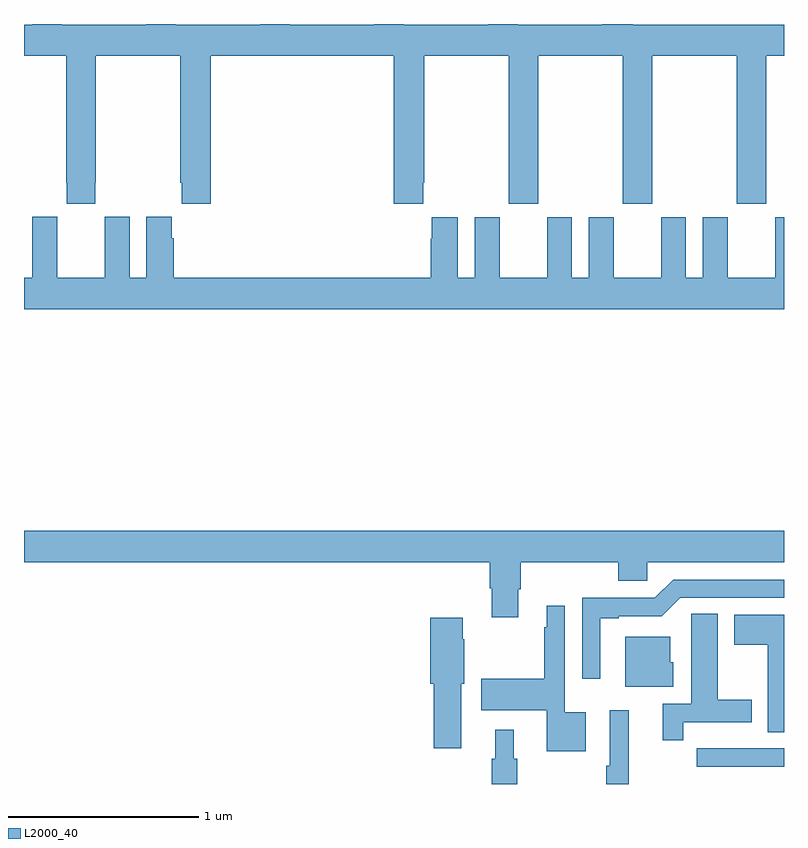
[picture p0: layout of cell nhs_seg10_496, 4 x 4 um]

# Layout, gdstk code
import gdstk
lib = gdstk.Library(unit=1e-6, precision=1e-09)
def P(c, l, *ps):  # polygons
    for p in ps: c.add(gdstk.Polygon(p, *l))
L2000_40 = (2000, 40)

nhs_seg10_496 = lib.new_cell('nhs_seg10_496')
P(nhs_seg10_496, L2000_40, [(135.043,1284.496),(135,1284.496),(135,1284.332),(135.223,1284.332),(135.223,1283.665),(135.225,1283.665),(135.225,1283.553),(135.375,1283.553),(135.375,1283.665),(135.378,1283.665),(135.378,1284.332),(135.823,1284.332),(135.823,1283.665),(135.829,1283.665),(135.829,1283.553),(135.983,1283.553),(135.983,1284.332),(136.946,1284.332),(136.946,1283.553),(137.101,1283.553),(137.101,1283.665),(137.106,1283.665),(137.106,1284.332),(137.551,1284.332),(137.551,1283.553),(137.706,1283.553),(137.706,1284.332),(138.151,1284.332),(138.151,1283.553),(138.306,1283.553),(138.306,1284.332),(138.751,1284.332),(138.751,1283.553),(138.906,1283.553),(138.906,1284.332),(139,1284.332),(139,1284.496),(138.203,1284.496),(138.203,1284.5),(138.043,1284.5),(138.043,1284.496),(137.598,1284.496),(137.598,1284.5),(137.443,1284.5),(137.443,1284.496),(136.998,1284.496),(136.998,1284.5),(136.843,1284.5),(136.843,1284.496),(136.398,1284.496),(136.398,1284.5),(136.243,1284.5),(136.243,1284.496),(135.798,1284.496),(135.798,1284.5),(135.643,1284.5),(135.643,1284.496),(135.198,1284.496),(135.198,1284.5),(135.043,1284.5)],
  [(135.778,1283.372),(135.778,1283.485),(135.644,1283.485),(135.644,1283.164),(135.556,1283.164),(135.556,1283.485),(135.426,1283.485),(135.426,1283.372),(135.425,1283.372),(135.425,1283.164),(135.175,1283.164),(135.175,1283.372),(135.174,1283.372),(135.174,1283.485),(135.044,1283.485),(135.044,1283.164),(135,1283.164),(135,1283),(139,1283),(139,1283.482),(138.953,1283.482),(138.953,1283.164),(138.703,1283.164),(138.703,1283.482),(138.572,1283.482),(138.572,1283.164),(138.484,1283.164),(138.484,1283.482),(138.353,1283.482),(138.353,1283.164),(138.103,1283.164),(138.103,1283.482),(137.972,1283.482),(137.972,1283.164),(137.884,1283.164),(137.884,1283.482),(137.753,1283.482),(137.753,1283.164),(137.503,1283.164),(137.503,1283.482),(137.372,1283.482),(137.372,1283.164),(137.284,1283.164),(137.284,1283.482),(137.147,1283.482),(137.147,1283.369),(137.141,1283.369),(137.141,1283.164),(135.788,1283.164),(135.788,1283.372)],
  [(137.602,1281.526),(137.615,1281.526),(137.615,1281.668),(138.128,1281.668),(138.128,1281.57),(138.279,1281.57),(138.279,1281.668),(139,1281.668),(139,1281.832),(135,1281.832),(135,1281.668),(137.45,1281.668),(137.45,1281.531),(137.462,1281.531),(137.462,1281.378),(137.602,1281.378)],
  [(138.034,1281.372),(138.13,1281.372),(138.13,1281.384),(138.357,1281.384),(138.453,1281.48),(139,1281.48),(139,1281.576),(138.417,1281.576),(138.321,1281.48),(137.937,1281.48),(137.937,1281.054),(138.034,1281.054)],
  [(137.956,1280.878),(137.847,1280.878),(137.847,1281.439),(137.75,1281.439),(137.75,1281.326),(137.739,1281.326),(137.739,1281.054),(137.406,1281.054),(137.406,1280.888),(137.75,1280.888),(137.75,1280.672),(137.956,1280.672)],
  [(138.47,1280.826),(138.829,1280.826),(138.829,1280.943),(138.652,1280.943),(138.652,1281.395),(138.513,1281.395),(138.513,1281.284),(138.512,1281.284),(138.512,1280.922),(138.362,1280.922),(138.362,1280.73),(138.47,1280.73)],
  [(139,1281.391),(138.737,1281.391),(138.737,1281.232),(138.914,1281.232),(138.914,1280.773),(139,1280.773)],
  [(137.302,1281.027),(137.316,1281.027),(137.316,1281.263),(137.308,1281.263),(137.308,1281.376),(137.138,1281.376),(137.138,1281.027),(137.156,1281.027),(137.156,1280.688),(137.302,1280.688)],
  [(138.418,1281.141),(138.4,1281.141),(138.4,1281.274),(138.164,1281.274),(138.164,1281.011),(138.418,1281.011)],
  [(138.182,1280.887),(138.084,1280.887),(138.084,1280.596),(138.064,1280.596),(138.064,1280.5),(138.182,1280.5)],
  [(139,1280.688),(138.818,1280.688),(138.818,1280.689),(138.652,1280.689),(138.652,1280.688),(138.54,1280.688),(138.54,1280.592),(139,1280.592)],
  [(137.578,1280.634),(137.578,1280.785),(137.48,1280.785),(137.48,1280.634),(137.461,1280.634),(137.461,1280.5),(137.597,1280.5),(137.597,1280.634)])

lib.write_gds('nhs_seg10_496.gds')
